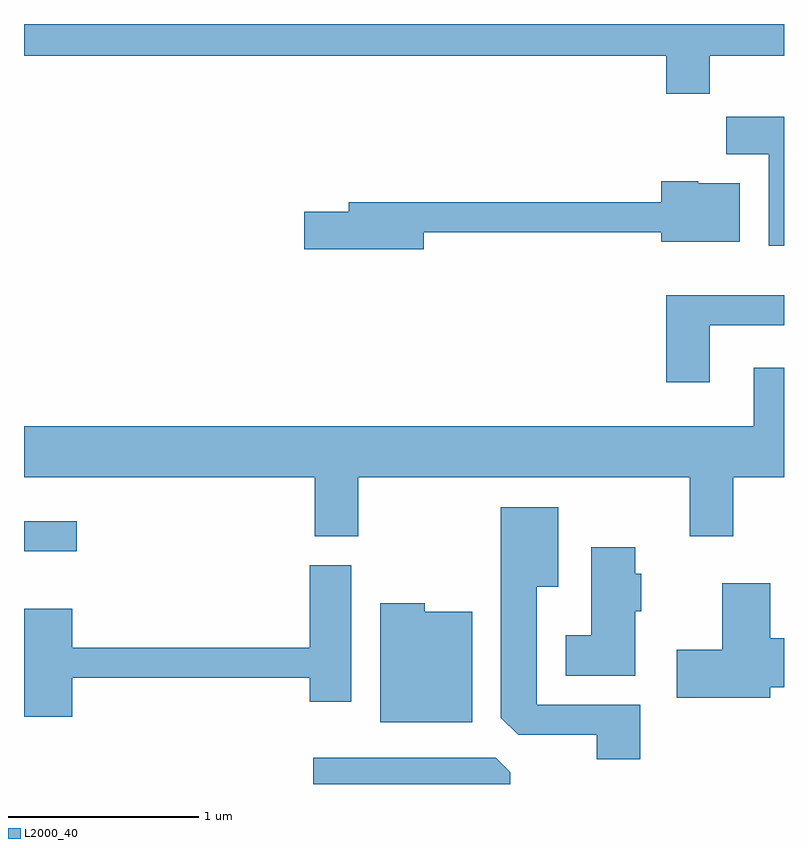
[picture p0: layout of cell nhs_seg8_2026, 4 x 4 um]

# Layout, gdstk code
import gdstk
lib = gdstk.Library(unit=1e-6, precision=1e-09)
def R(c, l, rs):  # rectangles x0, y0, x1, y1
    for r in rs: c.add(gdstk.rectangle(r[:2], r[2:], *l))
def P(c, l, *ps):  # polygons
    for p in ps: c.add(gdstk.Polygon(p, *l))
L2000_40 = (2000, 40)

nhs_seg8_2026 = lib.new_cell('nhs_seg8_2026')
R(nhs_seg8_2026, L2000_40, [(245.611,1851.566,245.888,1851.724)])
P(nhs_seg8_2026, L2000_40, [(249.219,1854.176),(249.611,1854.176),(249.611,1854.342),(245.611,1854.342),(245.611,1854.176),(248.991,1854.176),(248.991,1853.976),(249.219,1853.976)],
  [(249.611,1853.854),(249.306,1853.854),(249.306,1853.656),(249.531,1853.656),(249.531,1853.176),(249.611,1853.176)],
  [(247.714,1853.246),(248.966,1853.246),(248.966,1853.196),(249.379,1853.196),(249.379,1853.504),(249.16,1853.504),(249.16,1853.514),(248.966,1853.514),(248.966,1853.404),(247.321,1853.404),(247.321,1853.354),(247.086,1853.354),(247.086,1853.156),(247.714,1853.156)],
  [(249.219,1852.756),(249.611,1852.756),(249.611,1852.914),(248.991,1852.914),(248.991,1852.456),(249.219,1852.456)],
  [(247.369,1851.956),(249.116,1851.956),(249.116,1851.646),(249.344,1851.646),(249.344,1851.956),(249.611,1851.956),(249.611,1852.534),(249.451,1852.534),(249.451,1852.224),(245.611,1852.224),(245.611,1851.956),(247.141,1851.956),(247.141,1851.646),(247.369,1851.646)],
  [(248.854,1850.759),(248.309,1850.759),(248.309,1851.381),(248.424,1851.381),(248.424,1851.799),(248.121,1851.799),(248.121,1850.692),(248.212,1850.601),(248.626,1850.601),(248.626,1850.471),(248.854,1850.471)],
  [(248.829,1851.251),(248.859,1851.251),(248.859,1851.449),(248.829,1851.449),(248.829,1851.589),(248.596,1851.589),(248.596,1851.124),(248.461,1851.124),(248.461,1850.911),(248.829,1850.911)],
  [(245.864,1850.901),(247.116,1850.901),(247.116,1850.776),(247.334,1850.776),(247.334,1851.494),(247.116,1851.494),(247.116,1851.059),(245.864,1851.059),(245.864,1851.264),(245.611,1851.264),(245.611,1850.696),(245.864,1850.696)],
  [(249.539,1850.851),(249.611,1850.851),(249.611,1851.109),(249.539,1851.109),(249.539,1851.399),(249.286,1851.399),(249.286,1851.049),(249.046,1851.049),(249.046,1850.796),(249.539,1850.796)],
  [(247.969,1851.249),(247.719,1851.249),(247.719,1851.294),(247.486,1851.294),(247.486,1850.666),(247.969,1850.666)],
  [(248.169,1850.404),(248.094,1850.479),(247.133,1850.479),(247.133,1850.342),(248.169,1850.342)])

lib.write_gds('nhs_seg8_2026.gds')
